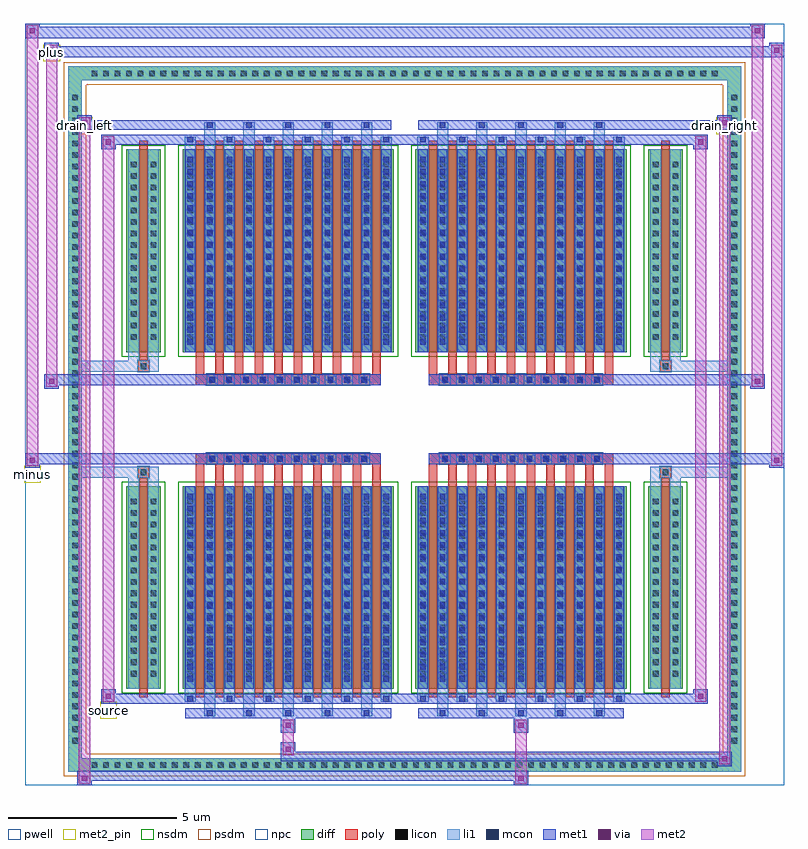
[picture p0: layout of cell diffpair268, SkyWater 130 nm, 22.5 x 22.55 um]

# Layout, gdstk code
import gdstk
lib = gdstk.Library(unit=1e-6, precision=5e-09)
def R(c, l, rs):  # rectangles x0, y0, x1, y1
    for r in rs: c.add(gdstk.rectangle(r[:2], r[2:], *l))
def A(c, l, x, y, w, h, nx, ny, dx, dy):  # array of equal rectangles
    R(c, l, [(x+i*dx, y+j*dy, x+i*dx+w, y+j*dy+h) for i in range(nx) for j in range(ny)])
def P(c, l, *ps):  # polygons
    for p in ps: c.add(gdstk.Polygon(p, *l))
pwell = (64, 44)
diff = (65, 20)
poly = (66, 20)
licon = (66, 44)
li1 = (67, 20)
mcon = (67, 44)
met1 = (68, 20)
via = (68, 44)
met2_pin = (69, 16)
met2 = (69, 20)
nsdm = (93, 44)
psdm = (94, 20)
npc = (95, 20)

diffpair268 = lib.new_cell('diffpair268')
R(diffpair268, pwell, [(-11.23,-10.84,11.23,11.71), (-8.55,-9.03,-0.01,-0.805), (0.01,-9.03,8.55,-0.805), (-8.55,0.805,-0.01,9.03), (0.01,0.805,8.55,9.03)])
A(diffpair268, diff, -9.385, -10.44, 0.41, 0.41, 55, 2, 0.34, 20.47)
A(diffpair268, diff, -9.96, -9.725, 0.41, 0.41, 1, 57, 0, 0.34)
A(diffpair268, diff, 9.55, -9.725, 0.41, 0.41, 1, 57, 0, 0.34)
R(diffpair268, diff, [(-9.385,-10.44,9.385,-10.03), (-9.96,-9.725,-9.55,9.725), (9.55,-9.725,9.96,9.725), (-8.24,-7.985,-7.21,-1.985), (-6.57,-7.985,-0.32,-1.985), (0.32,-7.985,6.57,-1.985), (7.21,-7.985,8.24,-1.985), (-8.24,1.985,-7.21,7.985), (-6.57,1.985,-0.32,7.985), (0.32,1.985,6.57,7.985), (7.21,1.985,8.24,7.985), (-9.385,10.03,9.385,10.44)])
P(diffpair268, diff, [(9.96,10.44),(-9.96,10.44),(-9.96,-10.03),(-9.55,-10.03),(-9.55,10.03),(9.55,10.03),(9.55,-10.03),(-9.55,-10.03),(-9.96,-10.03),(-9.96,-10.44),(9.96,-10.44)])
A(diffpair268, poly, -6.18, -8.235, 0.25, 6.5, 10, 2, 0.58, 9.97)
A(diffpair268, poly, 0.71, -8.235, 0.25, 6.5, 10, 2, 0.58, 9.97)
A(diffpair268, poly, -6.18, -1.735, 0.25, 0.4, 10, 2, 0.58, 3.07)
A(diffpair268, poly, 0.71, -1.735, 0.25, 0.4, 10, 2, 0.58, 3.07)
A(diffpair268, poly, -5.86, -1.335, 0.33, 0.33, 10, 2, 0.5, 2.34)
A(diffpair268, poly, 1.03, -1.335, 0.33, 0.33, 10, 2, 0.5, 2.34)
R(diffpair268, poly, [(-7.85,-8.235,-7.6,-1.735), (7.6,-8.235,7.85,-1.735), (-7.89,-1.735,-7.56,-1.405), (-7.89,-1.735,-7.56,-1.405), (7.56,-1.735,7.89,-1.405), (7.56,-1.735,7.89,-1.405), (-6.18,-1.335,-0.71,-1.005), (0.71,-1.335,6.18,-1.005), (-6.18,1.005,-0.71,1.335), (0.71,1.005,6.18,1.335), (-7.89,1.405,-7.56,1.735), (-7.89,1.405,-7.56,1.735), (7.56,1.405,7.89,1.735), (7.56,1.405,7.89,1.735), (-7.85,1.735,-7.6,8.235), (7.6,1.735,7.85,8.235)])
A(diffpair268, licon, -9.265, -10.32, 0.17, 0.17, 55, 2, 0.34, 20.47)
A(diffpair268, licon, -9.84, -9.605, 0.17, 0.17, 1, 57, 0, 0.34)
A(diffpair268, licon, 9.67, -9.605, 0.17, 0.17, 1, 57, 0, 0.34)
A(diffpair268, licon, -8.1, -7.62, 0.17, 0.17, 1, 16, 0, 0.34)
A(diffpair268, licon, -7.52, -7.62, 0.17, 0.17, 1, 16, 0, 0.34)
A(diffpair268, licon, -6.43, -7.62, 0.17, 0.17, 11, 16, 0.58, 0.34)
A(diffpair268, licon, 0.46, -7.62, 0.17, 0.17, 11, 16, 0.58, 0.34)
A(diffpair268, licon, 7.35, -7.62, 0.17, 0.17, 1, 16, 0, 0.34)
A(diffpair268, licon, 7.93, -7.62, 0.17, 0.17, 1, 16, 0, 0.34)
A(diffpair268, licon, -5.78, -1.255, 0.17, 0.17, 10, 2, 0.5, 2.34)
A(diffpair268, licon, 1.11, -1.255, 0.17, 0.17, 10, 2, 0.5, 2.34)
A(diffpair268, licon, -8.1, 2.35, 0.17, 0.17, 1, 16, 0, 0.34)
A(diffpair268, licon, -7.52, 2.35, 0.17, 0.17, 1, 16, 0, 0.34)
A(diffpair268, licon, -6.43, 2.35, 0.17, 0.17, 11, 16, 0.58, 0.34)
A(diffpair268, licon, 0.46, 2.35, 0.17, 0.17, 11, 16, 0.58, 0.34)
A(diffpair268, licon, 7.35, 2.35, 0.17, 0.17, 1, 16, 0, 0.34)
A(diffpair268, licon, 7.93, 2.35, 0.17, 0.17, 1, 16, 0, 0.34)
R(diffpair268, licon, [(-7.81,-1.655,-7.64,-1.485), (7.64,-1.655,7.81,-1.485), (-7.81,1.485,-7.64,1.655), (7.64,1.485,7.81,1.655)])
A(diffpair268, li1, -9.345, -10.4, 0.33, 0.33, 55, 2, 0.34, 20.47)
A(diffpair268, li1, -9.92, -9.685, 0.33, 0.33, 1, 57, 0, 0.34)
A(diffpair268, li1, 9.59, -9.685, 0.33, 0.33, 1, 57, 0, 0.34)
A(diffpair268, li1, -5.93, -8.79, 0.33, 0.805, 5, 2, 1.16, 16.775)
A(diffpair268, li1, -5.85, -8.79, 0.17, 0.17, 5, 2, 1.16, 17.41)
A(diffpair268, li1, 0.96, -8.79, 0.33, 0.805, 5, 2, 1.16, 16.775)
A(diffpair268, li1, 1.04, -8.79, 0.17, 0.17, 5, 2, 1.16, 17.41)
A(diffpair268, li1, -6.51, -8.36, 0.33, 0.375, 6, 2, 1.16, 16.345)
A(diffpair268, li1, -6.43, -8.36, 0.17, 0.17, 6, 2, 1.16, 16.55)
A(diffpair268, li1, 0.38, -8.36, 0.33, 0.375, 6, 2, 1.16, 16.345)
A(diffpair268, li1, 0.46, -8.36, 0.17, 0.17, 6, 2, 1.16, 16.55)
A(diffpair268, li1, -6.51, -7.985, 0.33, 6, 11, 2, 0.58, 9.97)
A(diffpair268, li1, 0.38, -7.985, 0.33, 6, 11, 2, 0.58, 9.97)
A(diffpair268, li1, -6.43, -7.77, 0.17, 0.17, 11, 16, 0.58, 0.36)
A(diffpair268, li1, -6.43, -7.77, 0.17, 5.57, 11, 2, 0.58, 9.97)
A(diffpair268, li1, 0.46, -7.77, 0.17, 0.17, 11, 16, 0.58, 0.36)
A(diffpair268, li1, 0.46, -7.77, 0.17, 5.57, 11, 2, 0.58, 9.97)
A(diffpair268, li1, -8.18, -7.7, 0.33, 0.33, 1, 16, 0, 0.34)
A(diffpair268, li1, -7.6, -7.7, 0.33, 0.33, 1, 16, 0, 0.34)
A(diffpair268, li1, -6.51, -7.7, 0.33, 0.33, 11, 16, 0.58, 0.34)
A(diffpair268, li1, 0.38, -7.7, 0.33, 0.33, 11, 16, 0.58, 0.34)
A(diffpair268, li1, 7.27, -7.7, 0.33, 0.33, 1, 16, 0, 0.34)
A(diffpair268, li1, 7.85, -7.7, 0.33, 0.33, 1, 16, 0, 0.34)
A(diffpair268, li1, -5.86, -1.335, 0.33, 0.33, 10, 2, 0.5, 2.34)
A(diffpair268, li1, 1.03, -1.335, 0.33, 0.33, 10, 2, 0.5, 2.34)
A(diffpair268, li1, -6.43, 2.2, 0.17, 0.17, 11, 16, 0.58, 0.36)
A(diffpair268, li1, 0.46, 2.2, 0.17, 0.17, 11, 16, 0.58, 0.36)
A(diffpair268, li1, -8.18, 2.27, 0.33, 0.33, 1, 16, 0, 0.34)
A(diffpair268, li1, -7.6, 2.27, 0.33, 0.33, 1, 16, 0, 0.34)
A(diffpair268, li1, -6.51, 2.27, 0.33, 0.33, 11, 16, 0.58, 0.34)
A(diffpair268, li1, 0.38, 2.27, 0.33, 0.33, 11, 16, 0.58, 0.34)
A(diffpair268, li1, 7.27, 2.27, 0.33, 0.33, 1, 16, 0, 0.34)
A(diffpair268, li1, 7.85, 2.27, 0.33, 0.33, 1, 16, 0, 0.34)
R(diffpair268, li1, [(-9.96,-10.44,-9.55,-10.03), (-9.96,-10.44,-9.55,-10.03), (-9.55,-10.44,9.55,-10.03), (9.55,-10.44,9.96,-10.03), (9.55,-10.44,9.96,-10.03), (-9.96,-10.03,-9.55,10.03), (9.55,-10.03,9.96,10.03), (-8.18,-7.985,-7.85,-1.985), (-7.6,-7.985,-7.27,-1.985), (7.27,-7.985,7.6,-1.985), (7.85,-7.985,8.18,-1.985), (-8.18,-1.985,-7.85,-1.405), (-7.6,-1.985,-7.27,-1.405), (7.27,-1.985,7.6,-1.405), (7.85,-1.985,8.18,-1.405), (-9.96,-1.735,-7.89,-1.405), (-8.18,-1.735,-7.89,-1.405), (-7.89,-1.735,-7.56,-1.405), (-7.56,-1.735,-7.27,-1.405), (7.27,-1.735,7.56,-1.405), (7.56,-1.735,7.89,-1.405), (7.56,-1.735,9.96,-1.405), (7.89,-1.735,8.18,-1.405), (-9.96,1.405,-7.89,1.735), (-8.18,1.405,-7.89,1.735), (-8.18,1.405,-7.85,1.985), (-7.89,1.405,-7.56,1.735), (-7.6,1.405,-7.27,1.985), (-7.56,1.405,-7.27,1.735), (7.27,1.405,7.56,1.735), (7.27,1.405,7.6,1.985), (7.56,1.405,7.89,1.735), (7.56,1.405,9.96,1.735), (7.85,1.405,8.18,1.985), (7.89,1.405,8.18,1.735), (-8.18,1.985,-7.85,7.985), (-7.6,1.985,-7.27,7.985), (7.27,1.985,7.6,7.985), (7.85,1.985,8.18,7.985), (-9.96,10.03,-9.55,10.44), (-9.96,10.03,-9.55,10.44), (-9.55,10.03,9.55,10.44), (9.55,10.03,9.96,10.44), (9.55,10.03,9.96,10.44)])
A(diffpair268, mcon, -5.85, -8.79, 0.17, 0.17, 5, 2, 1.16, 17.41)
A(diffpair268, mcon, 1.04, -8.79, 0.17, 0.17, 5, 2, 1.16, 17.41)
A(diffpair268, mcon, -6.43, -8.36, 0.17, 0.17, 6, 2, 1.16, 16.55)
A(diffpair268, mcon, 0.46, -8.36, 0.17, 0.17, 6, 2, 1.16, 16.55)
A(diffpair268, mcon, -6.43, -7.77, 0.17, 0.17, 11, 16, 0.58, 0.36)
A(diffpair268, mcon, 0.46, -7.77, 0.17, 0.17, 11, 16, 0.58, 0.36)
A(diffpair268, mcon, -5.78, -1.255, 0.17, 0.17, 10, 2, 0.5, 2.34)
A(diffpair268, mcon, 1.11, -1.255, 0.17, 0.17, 10, 2, 0.5, 2.34)
A(diffpair268, mcon, -6.43, 2.2, 0.17, 0.17, 11, 16, 0.58, 0.36)
A(diffpair268, mcon, 0.46, 2.2, 0.17, 0.17, 11, 16, 0.58, 0.36)
A(diffpair268, met1, -5.91, -8.85, 0.29, 0.29, 5, 2, 1.16, 17.41)
A(diffpair268, met1, 0.98, -8.85, 0.29, 0.29, 5, 2, 1.16, 17.41)
A(diffpair268, met1, -6.49, -8.42, 0.29, 0.29, 6, 2, 1.16, 16.55)
A(diffpair268, met1, 0.4, -8.42, 0.29, 0.29, 6, 2, 1.16, 16.55)
A(diffpair268, met1, -6.49, -7.985, 0.29, 6, 11, 2, 0.58, 9.97)
A(diffpair268, met1, 0.4, -7.985, 0.29, 6, 11, 2, 0.58, 9.97)
A(diffpair268, met1, -6.49, -7.83, 0.29, 0.29, 11, 16, 0.58, 0.36)
A(diffpair268, met1, 0.4, -7.83, 0.29, 0.29, 11, 16, 0.58, 0.36)
A(diffpair268, met1, -5.84, -1.315, 0.29, 0.29, 10, 2, 0.5, 2.34)
A(diffpair268, met1, 1.05, -1.315, 0.29, 0.29, 10, 2, 0.5, 2.34)
A(diffpair268, met1, -6.49, 2.14, 0.29, 0.29, 11, 16, 0.58, 0.36)
A(diffpair268, met1, 0.4, 2.14, 0.29, 0.29, 11, 16, 0.58, 0.36)
R(diffpair268, met1, [(-9.69,-10.84,-9.26,-10.41), (3.23,-10.84,3.66,-10.41), (-9.69,-10.7,3.66,-10.41), (9.26,-10.27,9.69,-9.84), (-3.66,-10.13,9.69,-9.84), (-3.66,-9.99,-3.23,-9.56), (-3.66,-9.28,-3.23,-8.85), (3.23,-9.28,3.66,-8.85), (-6.49,-8.85,-0.4,-8.56), (0.4,-8.85,6.49,-8.56), (-8.98,-8.42,-8.55,-7.99), (-8.98,-8.42,-6.49,-8.13), (-6.49,-8.42,-0.4,-8.13), (-0.4,-8.42,0.4,-8.13), (0.4,-8.42,6.49,-8.13), (6.49,-8.42,8.98,-8.13), (8.55,-8.42,8.98,-7.99), (-11.23,-1.435,-10.8,-1.005), (10.8,-1.435,11.23,-1.005), (-11.23,-1.335,-0.71,-1.005), (-6.18,-1.335,-0.71,-1.005), (0.71,-1.335,6.18,-1.005), (0.71,-1.335,11.23,-1.005), (-10.66,0.905,-10.23,1.335), (10.23,0.905,10.66,1.335), (-10.66,1.005,-6.18,1.335), (-6.18,1.005,-0.71,1.335), (0.71,1.005,6.18,1.335), (6.18,1.005,10.66,1.335), (-8.98,7.99,-8.55,8.42), (8.55,7.99,8.98,8.42), (-8.98,8.13,-6.49,8.42), (-6.49,8.13,-0.4,8.42), (-0.4,8.13,0.4,8.42), (0.4,8.13,6.49,8.42), (6.49,8.13,8.98,8.42), (-9.69,8.56,-9.26,8.99), (-9.69,8.56,-6.49,8.85), (-6.49,8.56,-0.4,8.85), (0.4,8.56,6.49,8.85), (6.49,8.56,9.69,8.85), (9.26,8.56,9.69,8.99), (-10.66,10.71,-10.23,11.14), (-10.66,10.71,-8.55,11.04), (-8.55,10.71,8.55,11.04), (8.55,10.71,11.23,11.04), (10.8,10.71,11.23,11.14), (-11.23,11.28,-10.8,11.71), (-11.23,11.28,-8.55,11.61), (-8.55,11.28,8.55,11.61), (8.55,11.28,10.66,11.61), (10.23,11.28,10.66,11.71)])
R(diffpair268, via, [(-9.55,-10.7,-9.4,-10.55), (3.37,-10.7,3.52,-10.55), (9.4,-10.13,9.55,-9.98), (-3.52,-9.85,-3.37,-9.7), (-3.52,-9.14,-3.37,-8.99), (3.37,-9.14,3.52,-8.99), (-8.84,-8.28,-8.69,-8.13), (8.69,-8.28,8.84,-8.13), (-11.09,-1.295,-10.94,-1.145), (10.94,-1.295,11.09,-1.145), (-10.52,1.045,-10.37,1.195), (10.37,1.045,10.52,1.195), (-8.84,8.13,-8.69,8.28), (8.69,8.13,8.84,8.28), (-9.55,8.7,-9.4,8.85), (9.4,8.7,9.55,8.85), (-10.52,10.85,-10.37,11), (10.94,10.85,11.09,11), (-11.09,11.42,-10.94,11.57), (10.37,11.42,10.52,11.57)])
R(diffpair268, met2_pin, [(-9.015,-8.87,-8.515,-8.37), (-11.265,-1.885,-10.765,-1.385), (-9.725,8.44,-9.225,8.94), (9.225,8.44,9.725,8.94), (-10.695,10.59,-10.195,11.09)])
R(diffpair268, met2, [(-9.64,-10.79,-9.31,-10.46), (-9.64,-10.79,-9.31,8.94), (3.28,-10.79,3.61,-10.46), (3.28,-10.46,3.61,-9.23), (9.31,-10.22,9.64,-9.89), (9.31,-10.22,9.64,8.94), (-3.61,-9.94,-3.28,-9.61), (-3.61,-9.61,-3.28,-9.23), (-3.61,-9.23,-3.28,-8.9), (3.28,-9.23,3.61,-8.9), (-8.93,-8.37,-8.6,-8.04), (-8.93,-8.37,-8.6,8.37), (8.6,-8.37,8.93,-8.04), (8.6,-8.37,8.93,8.37), (-11.18,-1.385,-10.85,-1.055), (-11.18,-1.385,-10.85,11.66), (10.85,-1.385,11.18,-1.055), (10.85,-1.385,11.18,11.09), (-10.61,0.955,-10.28,1.285), (-10.61,0.955,-10.28,11.09), (10.28,0.955,10.61,1.285), (10.28,0.955,10.61,11.66), (-8.93,8.04,-8.6,8.37), (8.6,8.04,8.93,8.37), (-9.64,8.61,-9.31,8.94), (9.31,8.61,9.64,8.94), (-10.61,10.76,-10.28,11.09), (10.85,10.76,11.18,11.09), (-11.18,11.33,-10.85,11.66), (10.28,11.33,10.61,11.66)])
P(diffpair268, met2, [(11.18,-1.385),(11.18,-1.385),(11.18,-1.055),(11.18,-1.055)],
  [(11.18,10.76),(11.18,10.76),(11.18,11.09),(11.18,11.09)],
  [(-10.85,-1.385),(-10.85,-1.385),(-10.85,-1.055),(-10.85,-1.055)],
  [(-10.85,11.33),(-10.85,11.33),(-10.85,11.66),(-10.85,11.66)],
  [(10.61,0.955),(10.61,0.955),(10.61,1.285),(10.61,1.285)],
  [(10.61,11.33),(10.61,11.33),(10.61,11.66),(10.61,11.66)],
  [(-10.28,0.955),(-10.28,0.955),(-10.28,1.285),(-10.28,1.285)],
  [(-10.28,10.76),(-10.28,10.76),(-10.28,11.09),(-10.28,11.09)],
  [(-9.31,-10.79),(-9.31,-10.79),(-9.31,-10.46),(-9.31,-10.46)],
  [(-9.31,8.61),(-9.31,8.61),(-9.31,8.94),(-9.31,8.94)],
  [(9.64,-10.22),(9.64,-10.22),(9.64,-9.89),(9.64,-9.89)],
  [(9.64,8.61),(9.64,8.61),(9.64,8.94),(9.64,8.94)],
  [(-8.6,-8.37),(-8.6,-8.37),(-8.6,-8.04),(-8.6,-8.04)],
  [(-8.6,8.04),(-8.6,8.04),(-8.6,8.37),(-8.6,8.37)],
  [(8.93,-8.37),(8.93,-8.37),(8.93,-8.04),(8.93,-8.04)],
  [(8.93,8.04),(8.93,8.04),(8.93,8.37),(8.93,8.37)])
R(diffpair268, nsdm, [(-8.37,-8.115,-7.08,-1.855), (-6.7,-8.115,-0.19,-1.855), (0.19,-8.115,6.7,-1.855), (7.08,-8.115,8.37,-1.855), (-8.37,1.855,-7.08,8.115), (-6.7,1.855,-0.19,8.115), (0.19,1.855,6.7,8.115), (7.08,1.855,8.37,8.115)])
P(diffpair268, psdm, [(10.09,10.57),(-10.09,10.57),(-10.09,-9.9),(-9.42,-9.9),(-9.42,9.9),(9.42,9.9),(9.42,-9.9),(-9.42,-9.9),(-10.09,-9.9),(-10.09,-10.57),(10.09,-10.57)])
A(diffpair268, npc, -5.88, -1.355, 0.37, 0.37, 10, 2, 0.5, 2.34)
A(diffpair268, npc, 1.01, -1.355, 0.37, 0.37, 10, 2, 0.5, 2.34)
R(diffpair268, npc, [(-7.91,-1.755,-7.54,-1.385), (7.54,-1.755,7.91,-1.385), (-5.88,-1.355,-5.01,-0.985), (-5.88,-1.355,-5.01,-0.985), (-5.38,-1.355,-4.51,-0.985), (-5.38,-1.355,-4.51,-0.985), (-4.88,-1.355,-4.01,-0.985), (-4.88,-1.355,-4.01,-0.985), (-4.38,-1.355,-3.51,-0.985), (-4.38,-1.355,-3.51,-0.985), (-3.88,-1.355,-3.01,-0.985), (-3.88,-1.355,-3.01,-0.985), (-3.38,-1.355,-2.51,-0.985), (-3.38,-1.355,-2.51,-0.985), (-2.88,-1.355,-2.01,-0.985), (-2.88,-1.355,-2.01,-0.985), (-2.38,-1.355,-1.51,-0.985), (-2.38,-1.355,-1.51,-0.985), (-1.88,-1.355,-1.01,-0.985), (-1.88,-1.355,-1.01,-0.985), (1.01,-1.355,1.88,-0.985), (1.01,-1.355,1.88,-0.985), (1.51,-1.355,2.38,-0.985), (1.51,-1.355,2.38,-0.985), (2.01,-1.355,2.88,-0.985), (2.01,-1.355,2.88,-0.985), (2.51,-1.355,3.38,-0.985), (2.51,-1.355,3.38,-0.985), (3.01,-1.355,3.88,-0.985), (3.01,-1.355,3.88,-0.985), (3.51,-1.355,4.38,-0.985), (3.51,-1.355,4.38,-0.985), (4.01,-1.355,4.88,-0.985), (4.01,-1.355,4.88,-0.985), (4.51,-1.355,5.38,-0.985), (4.51,-1.355,5.38,-0.985), (5.01,-1.355,5.88,-0.985), (5.01,-1.355,5.88,-0.985), (-5.88,0.985,-5.01,1.355), (-5.88,0.985,-5.01,1.355), (-5.38,0.985,-4.51,1.355), (-5.38,0.985,-4.51,1.355), (-4.88,0.985,-4.01,1.355), (-4.88,0.985,-4.01,1.355), (-4.38,0.985,-3.51,1.355), (-4.38,0.985,-3.51,1.355), (-3.88,0.985,-3.01,1.355), (-3.88,0.985,-3.01,1.355), (-3.38,0.985,-2.51,1.355), (-3.38,0.985,-2.51,1.355), (-2.88,0.985,-2.01,1.355), (-2.88,0.985,-2.01,1.355), (-2.38,0.985,-1.51,1.355), (-2.38,0.985,-1.51,1.355), (-1.88,0.985,-1.01,1.355), (-1.88,0.985,-1.01,1.355), (1.01,0.985,1.88,1.355), (1.01,0.985,1.88,1.355), (1.51,0.985,2.38,1.355), (1.51,0.985,2.38,1.355), (2.01,0.985,2.88,1.355), (2.01,0.985,2.88,1.355), (2.51,0.985,3.38,1.355), (2.51,0.985,3.38,1.355), (3.01,0.985,3.88,1.355), (3.01,0.985,3.88,1.355), (3.51,0.985,4.38,1.355), (3.51,0.985,4.38,1.355), (4.01,0.985,4.88,1.355), (4.01,0.985,4.88,1.355), (4.51,0.985,5.38,1.355), (4.51,0.985,5.38,1.355), (5.01,0.985,5.88,1.355), (5.01,0.985,5.88,1.355), (-7.91,1.385,-7.54,1.755), (7.54,1.385,7.91,1.755)])
diffpair268.add(gdstk.Label('minus', (-11.015,-1.635), layer=69, texttype=5))
diffpair268.add(gdstk.Label('drain_right', (9.475,8.69), layer=69, texttype=5))
diffpair268.add(gdstk.Label('drain_left', (-9.475,8.69), layer=69, texttype=5))
diffpair268.add(gdstk.Label('source', (-8.765,-8.62), layer=69, texttype=5))
diffpair268.add(gdstk.Label('plus', (-10.445,10.84), layer=69, texttype=5))

lib.write_gds('diffpair268.gds')
